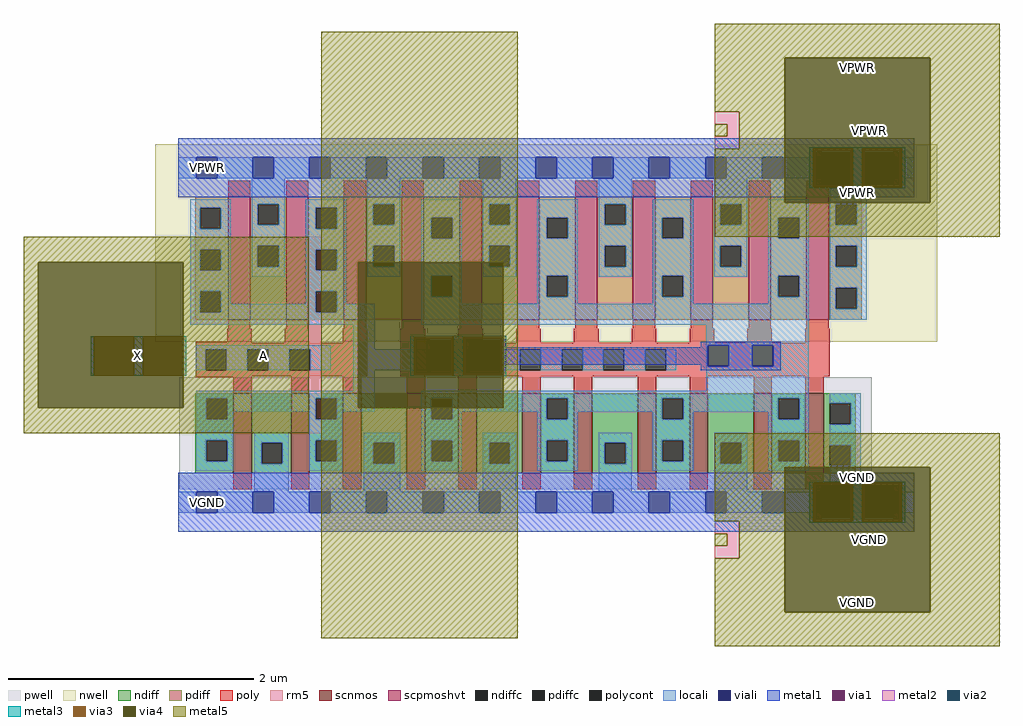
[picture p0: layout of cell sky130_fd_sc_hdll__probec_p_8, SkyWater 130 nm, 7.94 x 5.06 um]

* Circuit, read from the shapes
.subckt sky130_fd_sc_hdll__probec_p_8 A VGND VNB VPB VPWR X
XM1 VGND A n1 VNB sky130_fd_pr__nfet_01v8 w=0.65 l=0.15 m=3
XM2 n2 n1 VGND VNB sky130_fd_pr__nfet_01v8 w=0.65 l=0.15 m=8
XM3 VPWR A n1 VPB sky130_fd_pr__pfet_01v8_hvt w=1 l=0.18 m=3
XM4 n2 n1 VPWR VPB sky130_fd_pr__pfet_01v8_hvt w=1 l=0.18 m=8
R5 n2 X sky130_fd_pr__res_generic_m5 w=1.6 l=0.1
R6 VGND n3 sky130_fd_pr__res_generic_m5 w=0.5 l=0.1
R7 VPWR n4 sky130_fd_pr__res_generic_m5 w=0.5 l=0.1
.ends

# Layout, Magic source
magic
tech sky130A
magscale 1 2
<< nwell >>
rect -38 261 1234 582
<< pwell >>
rect 1 21 1127 203
rect 30 -17 64 21
<< scnmos >>
rect 89 47 119 177
rect 183 47 213 177
rect 267 47 297 177
rect 371 47 401 177
rect 455 47 485 177
rect 559 47 589 177
rect 643 47 673 177
rect 747 47 777 177
rect 831 47 861 177
rect 935 47 965 177
rect 1019 47 1049 177
<< scpmoshvt >>
rect 81 297 117 497
rect 175 297 211 497
rect 269 297 305 497
rect 363 297 399 497
rect 457 297 493 497
rect 551 297 587 497
rect 645 297 681 497
rect 739 297 775 497
rect 833 297 869 497
rect 927 297 963 497
rect 1021 297 1057 497
<< ndiff >>
rect 27 169 89 177
rect 27 135 45 169
rect 79 135 89 169
rect 27 101 89 135
rect 27 67 45 101
rect 79 67 89 101
rect 27 47 89 67
rect 119 97 183 177
rect 119 63 135 97
rect 169 63 183 97
rect 119 47 183 63
rect 213 169 267 177
rect 213 135 223 169
rect 257 135 267 169
rect 213 101 267 135
rect 213 67 223 101
rect 257 67 267 101
rect 213 47 267 67
rect 297 97 371 177
rect 297 63 317 97
rect 351 63 371 97
rect 297 47 371 63
rect 401 169 455 177
rect 401 135 411 169
rect 445 135 455 169
rect 401 101 455 135
rect 401 67 411 101
rect 445 67 455 101
rect 401 47 455 67
rect 485 97 559 177
rect 485 63 505 97
rect 539 63 559 97
rect 485 47 559 63
rect 589 169 643 177
rect 589 135 599 169
rect 633 135 643 169
rect 589 101 643 135
rect 589 67 599 101
rect 633 67 643 101
rect 589 47 643 67
rect 673 97 747 177
rect 673 63 693 97
rect 727 63 747 97
rect 673 47 747 63
rect 777 169 831 177
rect 777 135 787 169
rect 821 135 831 169
rect 777 101 831 135
rect 777 67 787 101
rect 821 67 831 101
rect 777 47 831 67
rect 861 97 935 177
rect 861 63 881 97
rect 915 63 935 97
rect 861 47 935 63
rect 965 169 1019 177
rect 965 135 975 169
rect 1009 135 1019 169
rect 965 101 1019 135
rect 965 67 975 101
rect 1009 67 1019 101
rect 965 47 1019 67
rect 1049 161 1101 177
rect 1049 127 1059 161
rect 1093 127 1101 161
rect 1049 93 1101 127
rect 1049 59 1059 93
rect 1093 59 1101 93
rect 1049 47 1101 59
<< pdiff >>
rect 27 479 81 497
rect 27 445 35 479
rect 69 445 81 479
rect 27 411 81 445
rect 27 377 35 411
rect 69 377 81 411
rect 27 343 81 377
rect 27 309 35 343
rect 69 309 81 343
rect 27 297 81 309
rect 117 485 175 497
rect 117 451 129 485
rect 163 451 175 485
rect 117 417 175 451
rect 117 383 129 417
rect 163 383 175 417
rect 117 297 175 383
rect 211 479 269 497
rect 211 445 223 479
rect 257 445 269 479
rect 211 411 269 445
rect 211 377 223 411
rect 257 377 269 411
rect 211 343 269 377
rect 211 309 223 343
rect 257 309 269 343
rect 211 297 269 309
rect 305 485 363 497
rect 305 451 317 485
rect 351 451 363 485
rect 305 417 363 451
rect 305 383 317 417
rect 351 383 363 417
rect 305 297 363 383
rect 399 463 457 497
rect 399 429 411 463
rect 445 429 457 463
rect 399 368 457 429
rect 399 334 411 368
rect 445 334 457 368
rect 399 297 457 334
rect 493 485 551 497
rect 493 451 505 485
rect 539 451 551 485
rect 493 417 551 451
rect 493 383 505 417
rect 539 383 551 417
rect 493 297 551 383
rect 587 463 645 497
rect 587 429 599 463
rect 633 429 645 463
rect 587 368 645 429
rect 587 334 599 368
rect 633 334 645 368
rect 587 297 645 334
rect 681 485 739 497
rect 681 451 693 485
rect 727 451 739 485
rect 681 417 739 451
rect 681 383 693 417
rect 727 383 739 417
rect 681 297 739 383
rect 775 463 833 497
rect 775 429 787 463
rect 821 429 833 463
rect 775 368 833 429
rect 775 334 787 368
rect 821 334 833 368
rect 775 297 833 334
rect 869 485 927 497
rect 869 451 881 485
rect 915 451 927 485
rect 869 417 927 451
rect 869 383 881 417
rect 915 383 927 417
rect 869 297 927 383
rect 963 463 1021 497
rect 963 429 975 463
rect 1009 429 1021 463
rect 963 368 1021 429
rect 963 334 975 368
rect 1009 334 1021 368
rect 963 297 1021 334
rect 1057 485 1111 497
rect 1057 451 1069 485
rect 1103 451 1111 485
rect 1057 417 1111 451
rect 1057 383 1069 417
rect 1103 383 1111 417
rect 1057 349 1111 383
rect 1057 315 1069 349
rect 1103 315 1111 349
rect 1057 297 1111 315
<< ndiffc >>
rect 45 135 79 169
rect 45 67 79 101
rect 135 63 169 97
rect 223 135 257 169
rect 223 67 257 101
rect 317 63 351 97
rect 411 135 445 169
rect 411 67 445 101
rect 505 63 539 97
rect 599 135 633 169
rect 599 67 633 101
rect 693 63 727 97
rect 787 135 821 169
rect 787 67 821 101
rect 881 63 915 97
rect 975 135 1009 169
rect 975 67 1009 101
rect 1059 127 1093 161
rect 1059 59 1093 93
<< pdiffc >>
rect 35 445 69 479
rect 35 377 69 411
rect 35 309 69 343
rect 129 451 163 485
rect 129 383 163 417
rect 223 445 257 479
rect 223 377 257 411
rect 223 309 257 343
rect 317 451 351 485
rect 317 383 351 417
rect 411 429 445 463
rect 411 334 445 368
rect 505 451 539 485
rect 505 383 539 417
rect 599 429 633 463
rect 599 334 633 368
rect 693 451 727 485
rect 693 383 727 417
rect 787 429 821 463
rect 787 334 821 368
rect 881 451 915 485
rect 881 383 915 417
rect 975 429 1009 463
rect 975 334 1009 368
rect 1069 451 1103 485
rect 1069 383 1103 417
rect 1069 315 1103 349
<< poly >>
rect 81 497 117 523
rect 175 497 211 523
rect 269 497 305 523
rect 363 497 399 523
rect 457 497 493 523
rect 551 497 587 523
rect 645 497 681 523
rect 739 497 775 523
rect 833 497 869 523
rect 927 497 963 523
rect 1021 497 1057 523
rect 81 282 117 297
rect 175 282 211 297
rect 269 282 305 297
rect 363 282 399 297
rect 457 282 493 297
rect 551 282 587 297
rect 645 282 681 297
rect 739 282 775 297
rect 833 282 869 297
rect 927 282 963 297
rect 1021 282 1057 297
rect 79 261 119 282
rect 28 259 119 261
rect 173 259 213 282
rect 267 259 307 282
rect 28 249 307 259
rect 28 215 44 249
rect 78 215 112 249
rect 146 215 180 249
rect 214 215 307 249
rect 28 205 307 215
rect 361 259 401 282
rect 455 259 495 282
rect 549 259 589 282
rect 643 259 683 282
rect 737 259 777 282
rect 831 259 871 282
rect 925 259 965 282
rect 1019 259 1059 282
rect 361 249 1059 259
rect 361 215 419 249
rect 453 215 487 249
rect 521 215 555 249
rect 589 215 623 249
rect 657 215 691 249
rect 725 215 759 249
rect 793 215 1059 249
rect 361 205 1059 215
rect 28 203 119 205
rect 89 177 119 203
rect 183 177 213 205
rect 267 177 297 205
rect 371 177 401 205
rect 455 177 485 205
rect 559 177 589 205
rect 643 177 673 205
rect 747 177 777 205
rect 831 177 861 205
rect 935 177 965 205
rect 1019 177 1049 205
rect 89 21 119 47
rect 183 21 213 47
rect 267 21 297 47
rect 371 21 401 47
rect 455 21 485 47
rect 559 21 589 47
rect 643 21 673 47
rect 747 21 777 47
rect 831 21 861 47
rect 935 21 965 47
rect 1019 21 1049 47
<< polycont >>
rect 44 215 78 249
rect 112 215 146 249
rect 180 215 214 249
rect 419 215 453 249
rect 487 215 521 249
rect 555 215 589 249
rect 623 215 657 249
rect 691 215 725 249
rect 759 215 793 249
<< locali >>
rect 0 527 29 561
rect 63 527 121 561
rect 155 527 213 561
rect 247 527 305 561
rect 339 527 397 561
rect 431 527 489 561
rect 523 527 581 561
rect 615 527 673 561
rect 707 527 765 561
rect 799 527 857 561
rect 891 527 949 561
rect 983 527 1041 561
rect 1075 527 1133 561
rect 1167 527 1196 561
rect 19 479 85 493
rect 19 445 35 479
rect 69 445 85 479
rect 19 411 85 445
rect 19 377 35 411
rect 69 377 85 411
rect 19 343 85 377
rect 119 485 173 527
rect 119 451 129 485
rect 163 451 173 485
rect 119 417 173 451
rect 119 383 129 417
rect 163 383 173 417
rect 119 367 173 383
rect 207 479 273 493
rect 207 445 223 479
rect 257 445 273 479
rect 207 411 273 445
rect 207 377 223 411
rect 257 377 273 411
rect 19 309 35 343
rect 69 323 85 343
rect 207 343 273 377
rect 307 485 361 527
rect 307 451 317 485
rect 351 451 361 485
rect 307 417 361 451
rect 307 383 317 417
rect 351 383 361 417
rect 307 367 361 383
rect 395 463 461 493
rect 395 429 411 463
rect 445 429 461 463
rect 395 368 461 429
rect 207 323 223 343
rect 69 309 223 323
rect 257 323 273 343
rect 395 334 411 368
rect 445 334 461 368
rect 495 485 549 527
rect 495 451 505 485
rect 539 451 549 485
rect 495 417 549 451
rect 495 383 505 417
rect 539 383 549 417
rect 495 367 549 383
rect 583 463 649 493
rect 583 429 599 463
rect 633 429 649 463
rect 583 368 649 429
rect 395 323 461 334
rect 583 334 599 368
rect 633 334 649 368
rect 683 485 737 527
rect 683 451 693 485
rect 727 451 737 485
rect 683 417 737 451
rect 683 383 693 417
rect 727 383 737 417
rect 683 367 737 383
rect 771 463 837 493
rect 771 429 787 463
rect 821 429 837 463
rect 771 368 837 429
rect 583 323 649 334
rect 771 334 787 368
rect 821 334 837 368
rect 871 485 925 527
rect 871 451 881 485
rect 915 451 925 485
rect 871 417 925 451
rect 871 383 881 417
rect 915 383 925 417
rect 871 367 925 383
rect 959 463 1025 493
rect 959 429 975 463
rect 1009 429 1025 463
rect 959 368 1025 429
rect 771 323 837 334
rect 959 334 975 368
rect 1009 334 1025 368
rect 959 323 1025 334
rect 257 309 319 323
rect 19 289 319 309
rect 395 289 1025 323
rect 1059 485 1119 527
rect 1059 451 1069 485
rect 1103 451 1119 485
rect 1059 417 1119 451
rect 1059 383 1069 417
rect 1103 383 1119 417
rect 1059 349 1119 383
rect 1059 315 1069 349
rect 1103 315 1119 349
rect 1059 297 1119 315
rect 28 249 248 255
rect 28 215 44 249
rect 78 215 112 249
rect 146 215 180 249
rect 214 215 248 249
rect 284 249 319 289
rect 858 255 1025 289
rect 284 215 419 249
rect 453 215 487 249
rect 521 215 555 249
rect 589 215 623 249
rect 657 215 691 249
rect 725 215 759 249
rect 793 215 809 249
rect 858 221 861 255
rect 895 221 933 255
rect 967 221 1025 255
rect 284 181 319 215
rect 858 181 1025 221
rect 29 169 319 181
rect 29 135 45 169
rect 79 147 223 169
rect 79 135 89 147
rect 29 101 89 135
rect 213 135 223 147
rect 257 147 319 169
rect 395 169 1025 181
rect 257 135 267 147
rect 29 67 45 101
rect 79 67 89 101
rect 29 51 89 67
rect 123 97 179 113
rect 123 63 135 97
rect 169 63 179 97
rect 123 17 179 63
rect 213 101 267 135
rect 395 135 411 169
rect 445 147 599 169
rect 445 135 461 147
rect 213 67 223 101
rect 257 67 267 101
rect 213 51 267 67
rect 301 97 361 113
rect 301 63 317 97
rect 351 63 361 97
rect 301 17 361 63
rect 395 101 461 135
rect 583 135 599 147
rect 633 147 787 169
rect 633 135 649 147
rect 395 67 411 101
rect 445 67 461 101
rect 395 51 461 67
rect 495 97 549 113
rect 495 63 505 97
rect 539 63 549 97
rect 495 17 549 63
rect 583 101 649 135
rect 771 135 787 147
rect 821 147 975 169
rect 821 135 837 147
rect 583 67 599 101
rect 633 67 649 101
rect 583 51 649 67
rect 683 97 737 113
rect 683 63 693 97
rect 727 63 737 97
rect 683 17 737 63
rect 771 101 837 135
rect 959 135 975 147
rect 1009 135 1025 169
rect 771 67 787 101
rect 821 67 837 101
rect 771 51 837 67
rect 871 97 925 113
rect 871 63 881 97
rect 915 63 925 97
rect 871 17 925 63
rect 959 101 1025 135
rect 959 67 975 101
rect 1009 67 1025 101
rect 959 51 1025 67
rect 1059 161 1109 177
rect 1093 127 1109 161
rect 1059 93 1109 127
rect 1093 59 1109 93
rect 1059 17 1109 59
rect 0 -17 29 17
rect 63 -17 121 17
rect 155 -17 213 17
rect 247 -17 305 17
rect 339 -17 397 17
rect 431 -17 489 17
rect 523 -17 581 17
rect 615 -17 673 17
rect 707 -17 765 17
rect 799 -17 857 17
rect 891 -17 949 17
rect 983 -17 1041 17
rect 1075 -17 1133 17
rect 1167 -17 1196 17
<< viali >>
rect 29 527 63 561
rect 121 527 155 561
rect 213 527 247 561
rect 305 527 339 561
rect 397 527 431 561
rect 489 527 523 561
rect 581 527 615 561
rect 673 527 707 561
rect 765 527 799 561
rect 857 527 891 561
rect 949 527 983 561
rect 1041 527 1075 561
rect 1133 527 1167 561
rect 861 221 895 255
rect 933 221 967 255
rect 29 -17 63 17
rect 121 -17 155 17
rect 213 -17 247 17
rect 305 -17 339 17
rect 397 -17 431 17
rect 489 -17 523 17
rect 581 -17 615 17
rect 673 -17 707 17
rect 765 -17 799 17
rect 857 -17 891 17
rect 949 -17 983 17
rect 1041 -17 1075 17
rect 1133 -17 1167 17
<< metal1 >>
rect 0 570 1196 592
rect 0 561 1046 570
rect 0 527 29 561
rect 63 527 121 561
rect 155 527 213 561
rect 247 527 305 561
rect 339 527 397 561
rect 431 527 489 561
rect 523 527 581 561
rect 615 527 673 561
rect 707 527 765 561
rect 799 527 857 561
rect 891 527 949 561
rect 983 527 1041 561
rect 0 518 1046 527
rect 1098 518 1110 570
rect 1162 561 1196 570
rect 1167 527 1196 561
rect 1162 518 1196 527
rect 0 496 1196 518
rect 404 212 410 264
rect 462 212 474 264
rect 526 252 532 264
rect 849 255 979 261
rect 849 252 861 255
rect 526 224 861 252
rect 526 212 532 224
rect 849 221 861 224
rect 895 221 933 255
rect 967 221 979 255
rect 849 215 979 221
rect 0 26 1196 48
rect 0 17 1046 26
rect 0 -17 29 17
rect 63 -17 121 17
rect 155 -17 213 17
rect 247 -17 305 17
rect 339 -17 397 17
rect 431 -17 489 17
rect 523 -17 581 17
rect 615 -17 673 17
rect 707 -17 765 17
rect 799 -17 857 17
rect 891 -17 949 17
rect 983 -17 1041 17
rect 0 -26 1046 -17
rect 1098 -26 1110 26
rect 1162 17 1196 26
rect 1167 -17 1196 17
rect 1162 -26 1196 -17
rect 0 -48 1196 -26
<< via1 >>
rect 1046 561 1098 570
rect 1046 527 1075 561
rect 1075 527 1098 561
rect 1046 518 1098 527
rect 1110 561 1162 570
rect 1110 527 1133 561
rect 1133 527 1162 561
rect 1110 518 1162 527
rect 410 212 462 264
rect 474 212 526 264
rect 1046 17 1098 26
rect 1046 -17 1075 17
rect 1075 -17 1098 17
rect 1046 -26 1098 -17
rect 1110 17 1162 26
rect 1110 -17 1133 17
rect 1133 -17 1162 17
rect 1110 -26 1162 -17
<< metal2 >>
rect 1027 516 1036 572
rect 1092 570 1116 572
rect 1098 518 1110 570
rect 1092 516 1116 518
rect 1172 516 1181 572
rect 378 210 387 266
rect 443 264 467 266
rect 523 264 532 266
rect 462 212 467 264
rect 526 212 532 264
rect 443 210 467 212
rect 523 210 532 212
rect 1027 -28 1036 28
rect 1092 26 1116 28
rect 1098 -26 1110 26
rect 1092 -28 1116 -26
rect 1172 -28 1181 28
<< via2 >>
rect 1036 570 1092 572
rect 1116 570 1172 572
rect 1036 518 1046 570
rect 1046 518 1092 570
rect 1116 518 1162 570
rect 1162 518 1172 570
rect 1036 516 1092 518
rect 1116 516 1172 518
rect 387 264 443 266
rect 467 264 523 266
rect 387 212 410 264
rect 410 212 443 264
rect 467 212 474 264
rect 474 212 523 264
rect 387 210 443 212
rect 467 210 523 212
rect 1036 26 1092 28
rect 1116 26 1172 28
rect 1036 -26 1046 26
rect 1046 -26 1092 26
rect 1116 -26 1162 26
rect 1162 -26 1172 26
rect 1036 -28 1092 -26
rect 1116 -28 1172 -26
<< metal3 >>
rect 1026 576 1182 577
rect 1026 512 1032 576
rect 1096 512 1112 576
rect 1176 512 1182 576
rect 1026 511 1182 512
rect 377 270 533 271
rect -143 206 -137 270
rect -73 206 -57 270
rect 7 206 13 270
rect 377 206 383 270
rect 447 206 463 270
rect 527 206 533 270
rect 377 205 533 206
rect 1026 32 1182 33
rect 1026 -32 1032 32
rect 1096 -32 1112 32
rect 1176 -32 1182 32
rect 1026 -33 1182 -32
<< via3 >>
rect 1032 572 1096 576
rect 1032 516 1036 572
rect 1036 516 1092 572
rect 1092 516 1096 572
rect 1032 512 1096 516
rect 1112 572 1176 576
rect 1112 516 1116 572
rect 1116 516 1172 572
rect 1172 516 1176 572
rect 1112 512 1176 516
rect -137 206 -73 270
rect -57 206 7 270
rect 383 266 447 270
rect 383 210 387 266
rect 387 210 443 266
rect 443 210 447 266
rect 383 206 447 210
rect 463 266 527 270
rect 463 210 467 266
rect 467 210 523 266
rect 523 210 527 266
rect 463 206 527 210
rect 1032 28 1096 32
rect 1032 -28 1036 28
rect 1036 -28 1092 28
rect 1092 -28 1096 28
rect 1032 -32 1096 -28
rect 1112 28 1176 32
rect 1112 -28 1116 28
rect 1116 -28 1172 28
rect 1172 -28 1176 28
rect 1112 -32 1176 -28
<< via4 >>
rect 986 576 1222 723
rect 986 512 1032 576
rect 1032 512 1096 576
rect 1096 512 1112 576
rect 1112 512 1176 576
rect 1176 512 1222 576
rect 986 487 1222 512
rect -228 270 8 390
rect -228 206 -137 270
rect -137 206 -73 270
rect -73 206 -57 270
rect -57 206 7 270
rect 7 206 8 270
rect -228 154 8 206
rect 292 270 528 390
rect 292 206 383 270
rect 383 206 447 270
rect 447 206 463 270
rect 463 206 527 270
rect 527 206 528 270
rect 292 154 528 206
rect 986 32 1222 57
rect 986 -32 1032 32
rect 1032 -32 1096 32
rect 1096 -32 1112 32
rect 1112 -32 1176 32
rect 1176 -32 1222 32
rect 986 -179 1222 -32
<< metal5 >>
rect -252 390 212 432
rect -252 154 -228 390
rect 8 154 212 390
rect -252 112 212 154
rect 232 390 552 765
rect 872 723 1335 778
rect 872 635 986 723
rect 872 595 892 615
rect 912 575 986 635
rect 872 487 986 575
rect 1222 487 1335 723
rect 872 432 1335 487
rect 232 154 292 390
rect 528 154 552 390
rect 232 -221 552 154
rect 872 57 1335 112
rect 872 -31 986 57
rect 872 -71 892 -51
rect 912 -91 986 -31
rect 872 -179 986 -91
rect 1222 -179 1335 57
rect 872 -234 1335 -179
<< rm5 >>
rect 212 112 232 432
rect 872 615 912 635
rect 892 595 912 615
rect 872 575 912 595
rect 872 -51 912 -31
rect 892 -71 912 -51
rect 872 -91 912 -71
<< labels >>
flabel metal3 s -98 206 -34 270 0 FreeSans 600 0 0 0 X
port 6 nsew signal output
flabel locali s 122 221 156 255 0 FreeSans 200 0 0 0 A
port 1 nsew signal input
flabel locali s 30 -17 64 17 0 FreeSans 200 0 0 0 VGND
port 2 nsew ground input
flabel locali s 30 527 64 561 0 FreeSans 200 0 0 0 VPWR
port 5 nsew power input
flabel nwell s 30 527 64 561 0 FreeSans 200 0 0 0 VPB
port 4 nsew power bidirectional
flabel pwell s 30 -17 64 17 0 FreeSans 200 0 0 0 VNB
port 3 nsew ground bidirectional
flabel metal1 s 30 -17 64 17 0 FreeSans 200 0 0 0 VGND
port 2 nsew ground input
flabel metal1 s 30 527 64 561 0 FreeSans 200 0 0 0 VPWR
port 5 nsew power input
rlabel comment s 0 0 0 0 4 probec_p_8
rlabel metal5 s 912 -91 1335 -31 1 VGND
port 2 nsew ground input
rlabel metal5 s 872 -31 1335 112 1 VGND
port 2 nsew ground input
rlabel metal5 s 872 -234 1335 -91 1 VGND
port 2 nsew ground input
rlabel metal5 s 912 575 1335 635 1 VPWR
port 5 nsew power input
rlabel metal5 s 872 635 1335 778 1 VPWR
port 5 nsew power input
rlabel metal5 s 872 432 1335 575 1 VPWR
port 5 nsew power input
<< properties >>
string LEFsite unithd
string LEFclass CORE
string FIXED_BBOX 0 0 1196 544
string GDS_FILE $PDKPATH/libs.ref/sky130_fd_sc_hdll/gds/sky130_fd_sc_hdll.gds
string LEFsymmetry X Y R90
string GDS_END 12326
string GDS_START 138
string LEFproperties maskLayoutSubType "abstract" prCellType "standard" originalViewName "layout"
<< end >>
